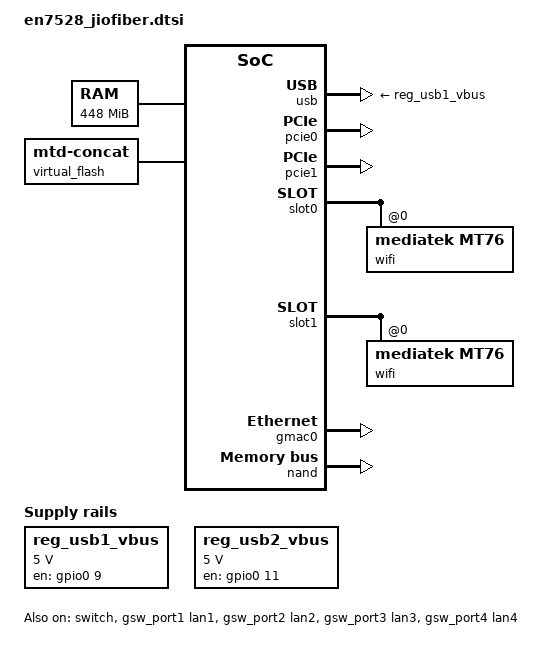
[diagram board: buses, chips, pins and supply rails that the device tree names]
// SPDX-License-Identifier: (GPL-2.0-only OR BSD-2-Clause)

#include "en7528.dtsi"

#include <dt-bindings/gpio/gpio.h>
#include <dt-bindings/input/input.h>
#include <dt-bindings/leds/common.h>

/ {
	memory@0 {
		device_type = "memory";
		reg = <0x00000000 0x1c000000>;
	};

	chosen {
		stdout-path = "/serial@1fbf0000:115200";
		linux,usable-memory-range = <0x00020000 0x1bfe0000>;
	};

	reg_usb1_vbus: regulator-usb1-vbus {
		compatible = "regulator-fixed";
		regulator-name = "usb1-vbus";
		regulator-min-microvolt = <5000000>;
		regulator-max-microvolt = <5000000>;
		gpios = <&gpio0 9 GPIO_ACTIVE_HIGH>;
		enable-active-high;
	};

	/* Second USB port VBUS, no DT consumer, enabled unconditionally */
	reg_usb2_vbus: regulator-usb2-vbus {
		compatible = "regulator-fixed";
		regulator-name = "usb2-vbus";
		regulator-min-microvolt = <5000000>;
		regulator-max-microvolt = <5000000>;
		gpios = <&gpio0 11 GPIO_ACTIVE_HIGH>;
		enable-active-high;
		regulator-boot-on;
		regulator-always-on;
	};

	virtual_flash {
		compatible = "mtd-concat";
		devices = <&rootA &root1>;

		partitions {
			compatible = "fixed-partitions";
			#address-cells = <1>;
			#size-cells = <1>;

			partition@0 {
				label = "ubi";
				reg = <0x0 0x0>;
			};
		};
	};
};

&usb {
	status = "okay";
	vbus-supply = <&reg_usb1_vbus>;
};

&pcie0 {
	status = "okay";
};

&pcie1 {
	status = "okay";
};

&slot0 {
	status = "okay";

	wifi@0,0 {
		compatible = "mediatek,mt76";
		reg = <0x0000 0 0 0 0>;
		nvmem-cells = <&macaddr_bl 2>, <&eeprom_reservearea_1c0000>;
		nvmem-cell-names = "mac-address", "eeprom";
		ieee80211-freq-limit = <2400000 2500000>;
	};
};

&slot1 {
	status = "okay";

	wifi@0,0 {
		compatible = "mediatek,mt76";
		reg = <0x0000 0 0 0 0>;
		nvmem-cells = <&macaddr_bl 3>, <&eeprom_reservearea_4b000>;
		nvmem-cell-names = "mac-address", "eeprom";
		ieee80211-freq-limit = <5000000 6000000>;
	};
};

&gmac0 {
	status = "okay";
	nvmem-cells = <&macaddr_bl 1>;
	nvmem-cell-names = "mac-address";
};

&switch {
	status = "okay";
};

&gsw_port1 {
	label = "lan1";
	status = "okay";
};

&gsw_port2 {
	label = "lan2";
	status = "okay";
};

&gsw_port3 {
	label = "lan3";
	status = "okay";
};

&gsw_port4 {
	label = "lan4";
	status = "okay";
};

&nand {
	status = "okay";
	econet,bmt;
	econet,bbt-table-size = <250>;

	partitions {
		compatible = "fixed-partitions";
		#address-cells = <1>;
		#size-cells = <1>;

		partition@0 {
			label = "bootloader";
			reg = <0x0 0x40000>;
			read-only;

			nvmem-layout {
				compatible = "fixed-layout";
				#address-cells = <1>;
				#size-cells = <1>;

				macaddr_bl: macaddr@3fe48 {
					compatible = "mac-base";
					reg = <0x3fe48 0x6>;
					#nvmem-cell-cells = <1>;
				};
			};
		};

		partition@40000 {
			label = "romfile";
			reg = <0x40000 0x40000>;
			read-only;
		};

		partition@80000 {
			label = "tclinux";
			reg = <0x80000 0x2800000>;
			econet,enable-remap;
		};

		/* Nested inside of tclinux */
		partition1@80000 {
			label = "tclinux_kernel";
			reg = <0x80000 0x400000>;
			econet,enable-remap;
		};

		/* Concatenated with "unknown" to form the UBI volume */
		rootA: partition1@480000 {
			label = "tclinux_rootfs";
			reg = <0x480000 0x2400000>;
		};

		partition@2880000 {
			label = "tclinux_slave";
			reg = <0x2880000 0x2800000>;
		};

		partition@5080000 {
			label = "opt0";
			reg = <0x5080000 0x800000>;
		};

		partition@5880000 {
			label = "opt1";
			reg = <0x5880000 0x800000>;
		};

		partition@6080000 {
			label = "ubifs";
			reg = <0x6080000 0x1a00000>;
		};

		partition@7a80000 {
			label = "config";
			reg = <0x7a80000 0x200000>;
		};

		partition@7c80000 {
			label = "ubifs2";
			reg = <0x7c80000 0x5a00000>;
		};

		/* Concatenated with tclinux_rootfs to form the UBI volume */
		root1: partition@d680000 {
			label = "unknown";
			reg = <0xd680000 0x740000>;
		};

		partition@ddc0000 {
			label = "reservearea";
			reg = <0xddc0000 0x240000>;

			nvmem-layout {
				compatible = "fixed-layout";
				#address-cells = <1>;
				#size-cells = <1>;

				/* 5GHz */
				eeprom_reservearea_4b000: eeprom@4b000 {
					reg = <0x4b000 0x4da8>;
				};

				/* 2.4GHz */
				eeprom_reservearea_1c0000: eeprom@1c0000 {
					reg = <0x1c0000 0x400>;
				};
			};
		};
	};
};
